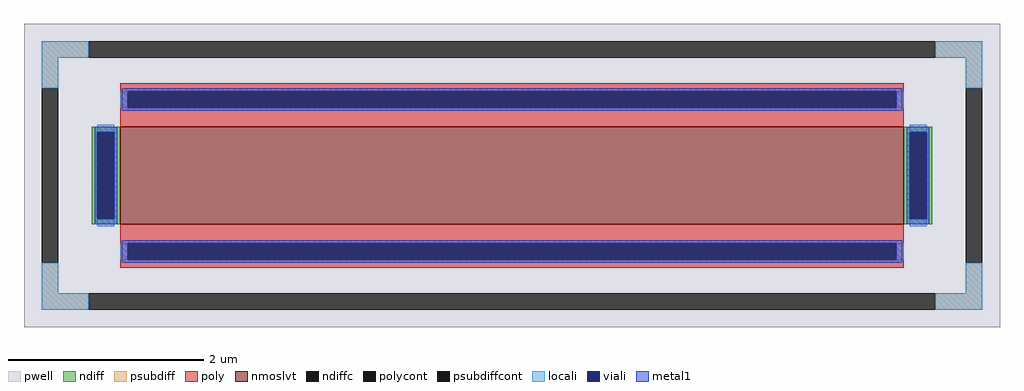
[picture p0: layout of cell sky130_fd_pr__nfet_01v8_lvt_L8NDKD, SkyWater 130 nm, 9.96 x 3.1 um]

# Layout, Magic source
magic
tech sky130A
<< pwell >>
rect -498 -155 498 155
<< nmoslvt >>
rect -400 -50 400 50
<< ndiff >>
rect -429 44 -400 50
rect -429 -44 -423 44
rect -406 -44 -400 44
rect -429 -50 -400 -44
rect 400 44 429 50
rect 400 -44 406 44
rect 423 -44 429 44
rect 400 -50 429 -44
<< ndiffc >>
rect -423 -44 -406 44
rect 406 -44 423 44
<< psubdiff >>
rect -480 120 -432 137
rect 432 120 480 137
rect -480 89 -463 120
rect 463 89 480 120
rect -480 -120 -463 -89
rect 463 -120 480 -89
rect -480 -137 -432 -120
rect 432 -137 480 -120
<< psubdiffcont >>
rect -432 120 432 137
rect -480 -89 -463 89
rect 463 -89 480 89
rect -432 -137 432 -120
<< poly >>
rect -400 86 400 94
rect -400 69 -392 86
rect 392 69 400 86
rect -400 50 400 69
rect -400 -69 400 -50
rect -400 -86 -392 -69
rect 392 -86 400 -69
rect -400 -94 400 -86
<< polycont >>
rect -392 69 392 86
rect -392 -86 392 -69
<< locali >>
rect -480 120 -432 137
rect 432 120 480 137
rect -480 89 -463 120
rect 463 89 480 120
rect -400 69 -392 86
rect 392 69 400 86
rect -423 44 -406 52
rect -423 -52 -406 -44
rect 406 44 423 52
rect 406 -52 423 -44
rect -400 -86 -392 -69
rect 392 -86 400 -69
rect -480 -120 -463 -89
rect 463 -120 480 -89
rect -480 -137 -432 -120
rect 432 -137 480 -120
<< viali >>
rect -392 69 392 86
rect -423 -44 -406 44
rect 406 -44 423 44
rect -392 -86 392 -69
<< metal1 >>
rect -398 86 398 89
rect -398 69 -392 86
rect 392 69 398 86
rect -398 66 398 69
rect -426 44 -403 50
rect -426 -44 -423 44
rect -406 -44 -403 44
rect -426 -50 -403 -44
rect 403 44 426 50
rect 403 -44 406 44
rect 423 -44 426 44
rect 403 -50 426 -44
rect -398 -69 398 -66
rect -398 -86 -392 -69
rect 392 -86 398 -69
rect -398 -89 398 -86
<< properties >>
string FIXED_BBOX -471 -128 471 128
string gencell sky130_fd_pr__nfet_01v8_lvt
string library sky130
string parameters w 1 l 8 m 1 nf 1 diffcov 100 polycov 100 guard 1 glc 1 grc 1 gtc 1 gbc 1 tbcov 100 rlcov 100 topc 1 botc 1 poverlap 0 doverlap 1 lmin 0.15 wmin 0.42 compatible {sky130_fd_pr__nfet_01v8 sky130_fd_pr__nfet_01v8_lvt  sky130_fd_bs_flash__special_sonosfet_star  sky130_fd_pr__nfet_g5v0d10v5 sky130_fd_pr__nfet_05v0_nvt  sky130_fd_pr__nfet_03v3_nvt} full_metal 1 viasrc 100 viadrn 100 viagate 100 viagb 0 viagr 0 viagl 0 viagt 0
<< end >>
